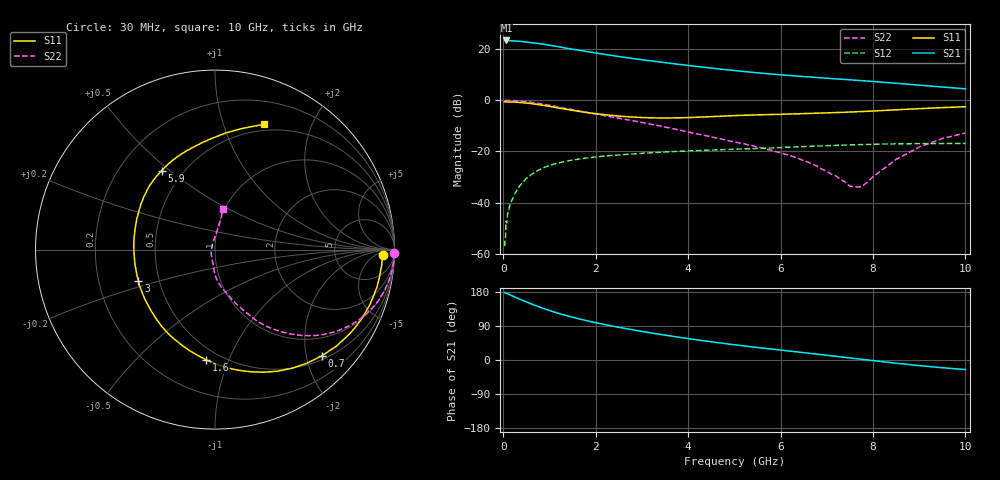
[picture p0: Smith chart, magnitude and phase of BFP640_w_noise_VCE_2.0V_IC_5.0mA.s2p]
! Infineon Technologies  Discrete & RF Semiconductors
! BFP640
! VCE =  2.0 V,  IC =  5.0 mA
! Common Emitter S-Parameters:  Apr 2013
# GHz  S  MA  R  50
!  f  S11  S21  S12  S22
! GHz  MAG  ANG  MAG  ANG  MAG  ANG  MAG  ANG
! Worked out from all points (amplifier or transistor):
!   99 points, 30 MHz to 10 GHz, reference 50 ohm
!   highest |S21| = 23.4 dB at 70 MHz (marker M1)
!   |S21| within 3 dB of that: start of sweep to 1.357 GHz
!   unconditionally stable (mu >= 1): 5.042 GHz to end of sweep
!   at 350 MHz: K = 0.07, MSG = 28.4 dB, |S12| = -33.6 dB
!   at 3.5 GHz: K = 0.82, MSG = 17.5 dB, |S12| = -20.2 dB
!   at 10 GHz: K = 1.15, MAG = 8.4 dB, |S12| = -16.9 dB
!   lowest NFmin = 0.54 dB at 450 MHz
!   S11 on the Smith chart (normalised r, x): 30 MHz: 23, -12; 700 MHz: 0.57, -2.30; 1.6 GHz: 0.42, -0.83; 3 GHz: 0.38, -0.17; 5.9 GHz: 0.38, +0.47; 10 GHz: 0.43, +1.38
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0.03  0.9338 -2.0  14.74 177.9  0.0014 80.4  0.9978 -1.2
0.06  0.9336 -3.8  14.77 176.3  0.0043 94.2  0.9988 -2.3
0.07  0.9323 -4.6  14.86 175.9  0.004 93.6  0.9974 -2.7
0.25  0.9206 -16.2  14.53 166.3  0.0148 82.1  0.9849 -9.8
0.4  0.9015 -26.0  14.19 158.3  0.0234 76.6  0.9604 -15.7
0.7  0.8397 -44.8  13.19 143.7  0.0399 66.4  0.8904 -26.3
0.9  0.7882 -57.0  12.45 134.7  0.0492 60.0  0.8305 -32.5
1.1  0.7349 -68.4  11.6 126.7  0.0567 54.6  0.7677 -38.0
1.4  0.6616 -84.3  10.37 116.1  0.0655 47.6  0.683 -44.5
1.6  0.6159 -94.7  9.705 109.7  0.07 43.6  0.63 -48.2
1.7  0.5959 -99.7  9.381 106.7  0.0723 41.9  0.6062 -49.7
2.1  0.5364 -118.9  8.194 95.8  0.0797 35.8  0.519 -55.8
2.3  0.5123 -127.9  7.673 90.9  0.0829 33.6  0.4833 -58.1
3  0.4602 -158.0  6.246 75.5  0.0919 26.4  0.369 -65.2
3.4  0.4513 -174.2  5.616 67.5  0.0965 22.8  0.3145 -69.5
4.3  0.4708 155.9  4.484 51.3  0.1051 15.8  0.2112 -80.4
5.1  0.506 137.3  3.752 38.8  0.1112 10.9  0.1472 -89.3
5.9  0.5307 124.1  3.217 27.6  0.1181 6.6  0.0993 -94.0
6.7  0.5579 112.4  2.835 16.6  0.1265 1.5  0.056 -106.6
7.7  0.6013 96.7  2.448 2.7  0.136 -5.8  0.0201 162.5
8.5  0.653 84.6  2.16 -8.5  0.1409 -11.9  0.07 90.2
10  0.7495 68.6  1.683 -25.2  0.1435 -21.0  0.2296 79.3
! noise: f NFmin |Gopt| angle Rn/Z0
0.45  0.54  0.45  12  0.1
0.9  0.56  0.45  21  0.1
1.5  0.59  0.39  33  0.1
1.9  0.64  0.34  51  0.1
2.4  0.69  0.31  58  0.1
3.5  0.84  0.26  84  0.09
5.5  1.1  0.28  -156  0.11
10  1.81  0.63  -65  0.45
